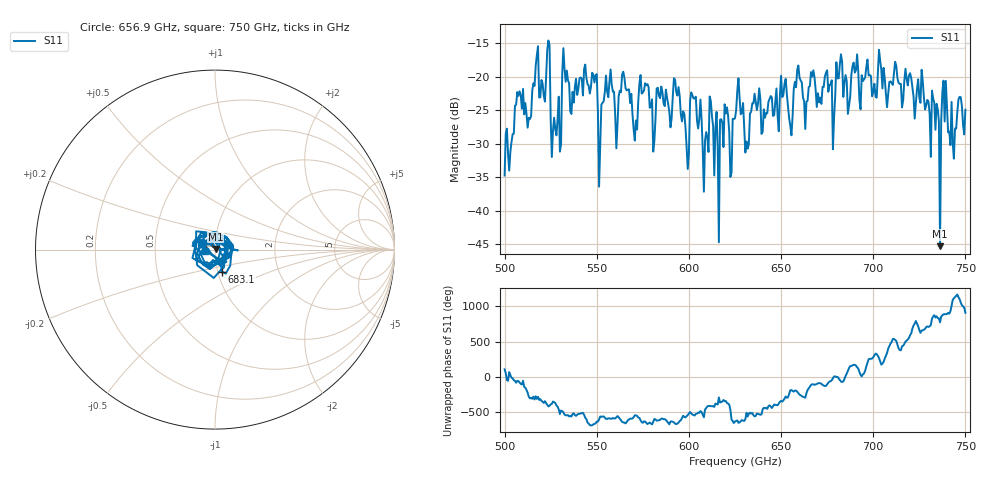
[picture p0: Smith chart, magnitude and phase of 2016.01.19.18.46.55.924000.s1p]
!Created with skrf (http://scikit-rf.org).
# GHz S RI R 50.0
!freq ReS11 ImS11
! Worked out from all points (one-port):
!   401 points, 500 GHz to 750 GHz, reference 50 ohm
!   lowest |S11| = -45.3 dB at 736.2 GHz (marker M1), VSWR 1.01, Z = 50.3 + j0.427 ohm
!   |S11| at or under -10 dB: start of sweep to end of sweep
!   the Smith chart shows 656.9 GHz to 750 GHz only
!   S11 on the Smith chart (normalised r, x): 656.9 GHz: 0.87, +0.07; 683.1 GHz: 1.05, -0.26; 750 GHz: 0.89, -0.01
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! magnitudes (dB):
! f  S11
! 500 GHz  -34.8
! 516.9 GHz  -18.4
! 523.8 GHz  -14.6
! 526.9 GHz  -26.1
! 531.2 GHz  -19.6
! 548.8 GHz  -20.9
! 551.9 GHz  -30.3
! 556.2 GHz  -23.1
! 562.5 GHz  -22.1
! 570.6 GHz  -29.5
! 574.4 GHz  -22.5
! 580.6 GHz  -31.2
! 593.8 GHz  -22.8
! 598.8 GHz  -30.5
! 602.5 GHz  -23.3
! 615 GHz  -25.3
! 625 GHz  -26.2
! 631.2 GHz  -29.7
! 636.9 GHz  -25.0
! 656.2 GHz  -25.9
! 656.9 GHz  -21.9
! 683.1 GHz  -17.8
! 687.5 GHz  -23.0
! 718.8 GHz  -21.3
! 736.2 GHz  -45.3
! 738.8 GHz  -26.7
! 742.5 GHz  -23.8
! 750 GHz  -24.9
